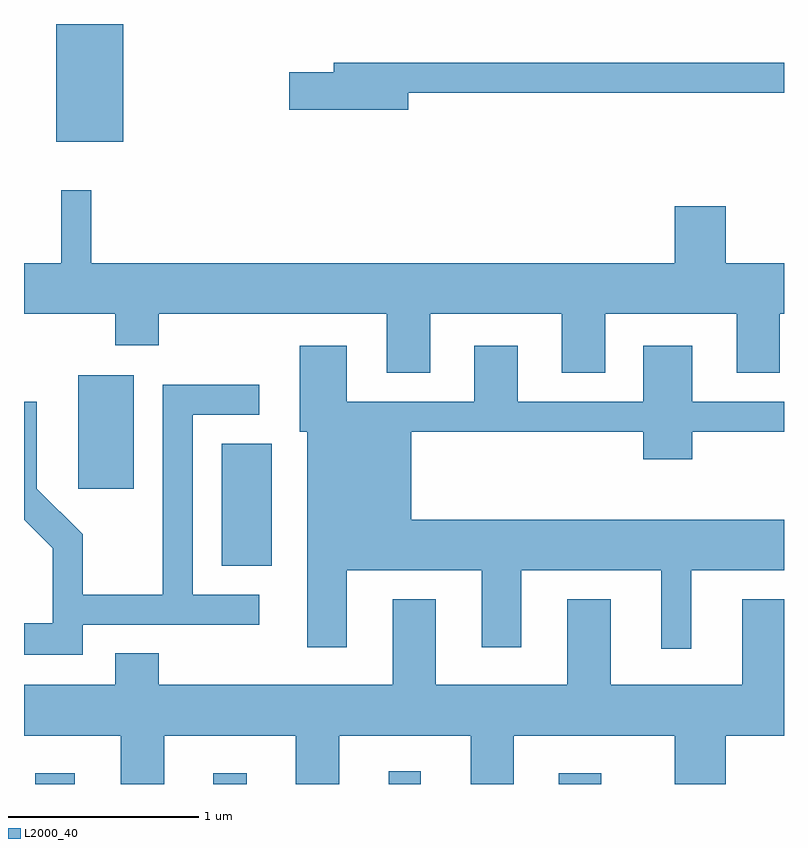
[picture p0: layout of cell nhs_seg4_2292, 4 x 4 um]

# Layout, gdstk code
import gdstk
lib = gdstk.Library(unit=1e-6, precision=1e-09)
def R(c, l, rs):  # rectangles x0, y0, x1, y1
    for r in rs: c.add(gdstk.rectangle(r[:2], r[2:], *l))
def P(c, l, *ps):  # polygons
    for p in ps: c.add(gdstk.Polygon(p, *l))
L2000_40 = (2000, 40)

nhs_seg4_2292 = lib.new_cell('nhs_seg4_2292')
R(nhs_seg4_2292, L2000_40, [(251.671,1349.982,251.879,1350.039), (252.606,1349.982,252.784,1350.039), (253.531,1349.982,253.699,1350.048), (254.426,1349.982,254.649,1350.039), (252.651,1351.131,252.914,1351.774), (251.896,1351.536,252.189,1352.134), (251.781,1353.361,252.134,1353.982)])
P(nhs_seg4_2292, L2000_40, [(253.634,1353.621),(255.611,1353.621),(255.611,1353.779),(253.241,1353.779),(253.241,1353.729),(253.006,1353.729),(253.006,1353.531),(253.634,1353.531)],
  [(253.749,1352.456),(254.441,1352.456),(254.441,1352.146),(254.669,1352.146),(254.669,1352.456),(255.361,1352.456),(255.361,1352.146),(255.589,1352.146),(255.589,1352.456),(255.611,1352.456),(255.611,1352.724),(255.304,1352.724),(255.304,1353.024),(255.036,1353.024),(255.036,1352.724),(251.964,1352.724),(251.964,1353.108),(251.806,1353.108),(251.806,1352.724),(251.611,1352.724),(251.611,1352.456),(252.091,1352.456),(252.091,1352.291),(252.319,1352.291),(252.319,1352.456),(253.521,1352.456),(253.521,1352.146),(253.749,1352.146)],
  [(255.124,1351.106),(255.611,1351.106),(255.611,1351.374),(253.649,1351.374),(253.649,1351.836),(254.871,1351.836),(254.871,1351.691),(255.129,1351.691),(255.129,1351.836),(255.611,1351.836),(255.611,1351.994),(255.129,1351.994),(255.129,1352.289),(254.871,1352.289),(254.871,1351.994),(254.209,1351.994),(254.209,1352.289),(253.981,1352.289),(253.981,1351.994),(253.309,1351.994),(253.309,1352.289),(253.061,1352.289),(253.061,1351.836),(253.101,1351.836),(253.101,1350.701),(253.309,1350.701),(253.309,1351.106),(254.021,1351.106),(254.021,1350.701),(254.229,1350.701),(254.229,1351.106),(254.966,1351.106),(254.966,1350.693),(255.124,1350.693)],
  [(251.919,1350.821),(252.848,1350.821),(252.848,1350.979),(252.499,1350.979),(252.499,1351.926),(252.848,1351.926),(252.848,1352.084),(252.341,1352.084),(252.341,1350.979),(251.919,1350.979),(251.919,1351.297),(251.679,1351.537),(251.679,1351.993),(251.611,1351.993),(251.611,1351.374),(251.761,1351.224),(251.761,1350.829),(251.611,1350.829),(251.611,1350.661),(251.919,1350.661)],
  [(252.091,1350.669),(252.091,1350.504),(251.611,1350.504),(251.611,1350.236),(252.121,1350.236),(252.121,1349.982),(252.349,1349.982),(252.349,1350.236),(253.041,1350.236),(253.041,1349.982),(253.269,1349.982),(253.269,1350.236),(253.961,1350.236),(253.961,1349.982),(254.189,1349.982),(254.189,1350.236),(255.036,1350.236),(255.036,1349.982),(255.304,1349.982),(255.304,1350.236),(255.611,1350.236),(255.611,1350.954),(255.391,1350.954),(255.391,1350.504),(254.699,1350.504),(254.699,1350.954),(254.471,1350.954),(254.471,1350.504),(253.779,1350.504),(253.779,1350.954),(253.551,1350.954),(253.551,1350.504),(252.319,1350.504),(252.319,1350.669)])

lib.write_gds('nhs_seg4_2292.gds')
